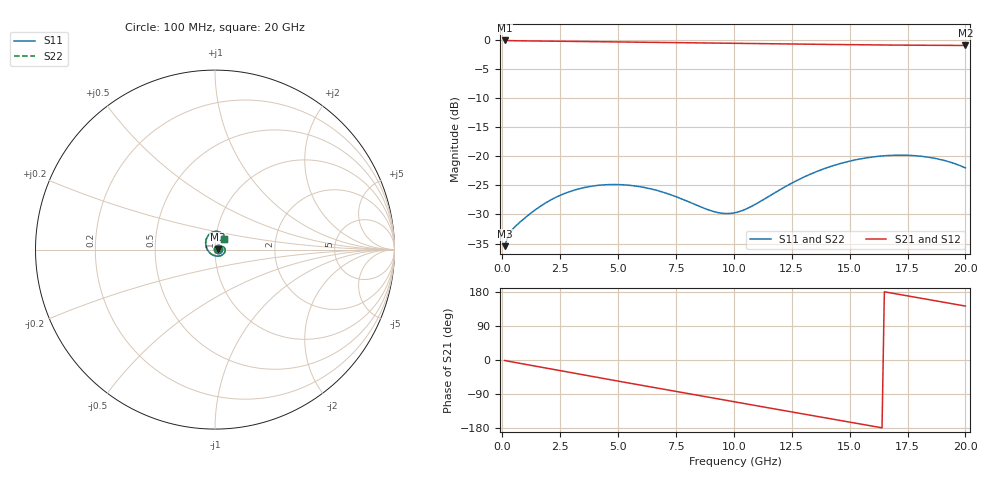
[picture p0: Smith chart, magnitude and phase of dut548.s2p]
! Touchstone file exported from HFSS 2026.1.0
!  File:  C:/ffzhzh/LocalFiles/Ansys_Project_Files/temp_train_TSV_RDL_548_1783114587_50312.aedt
!  Generated:  05:44:39 AM Jul  4, 2026
!  Design:  TSV_RDL
!  Project:  temp_train_TSV_RDL_548_1783114587_50312
! Variables:
!  h_bsmrdl = 4.86um
!  h_ox = 20um
!  h_rdl = 5um
!  h_sub = 54.25um
!  h_tmrdl = 4.65um
!  h_tsv = 54.25um
!  h_via = 3um
!  l_bsmrdl = 767.49um
!  l_sub = 3691.84um
!  l_tmrdl = 220.41um
!  m_sub = 200um
!  pitch = 26.44um
!  r_tsv = 4.16um
!  s_tmrdl = 10um
!  w_bsmrdl = 23.38um
!  w_sub = 500um
!  w_tmrdl = 12.53um
!  x_tsv_center1 = 226.675um
!  x_tsv_center2 = 1017.545um
!  x_tsv_center3 = 1250.485um
!  x_tsv_center4 = 2041.355um
!  x_tsv_center5 = 2274.295um
!  x_tsv_center6 = 3065.165um
# GHz S MA R 50.000000
! Terminal data exported
! Port[1] = TM_RDL1_1_T1
! Port[2] = TM_RDL5_1_T1
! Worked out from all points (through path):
!   200 points, 100 MHz to 20 GHz, reference 50 ohm
!   highest |S21| = -0.14 dB at 100 MHz (marker M1); lowest = -1.0 dB at 20 GHz (marker M2)
!   group delay of S21, straight-line fit = 30.1 ps
!   lowest |S11| = -35.4 dB at 100 MHz (marker M3), VSWR 1.03, Z = 51.7 + j0.383 ohm
!   |S11| at or under -10 dB: start of sweep to end of sweep
!   |S22| runs from -35.4 to -19.8 dB; largest |S21 - S12| = 1.7e-14
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0.1  0.01689 12.7  0.9836 -1.3  0.9836 -1.3  0.01689 12.7
! Gamma 0 0 0 0
! Port Impedance 50 0 50 0
0.2  0.01937 18.2  0.9819 -2.5  0.9819 -2.5  0.01937 18.2
0.4  0.023 21.1  0.9789 -4.8  0.9789 -4.8  0.023 21.1
1.4  0.03433 26.6  0.9735 -15.9  0.9735 -15.9  0.03433 26.6
2.4  0.04518 22.0  0.9686 -27.1  0.9686 -27.1  0.04518 22.0
3.5  0.05355 11.2  0.9623 -39.3  0.9623 -39.3  0.05355 11.2
5.1  0.05697 -9.1  0.9532 -56.8  0.9532 -56.8  0.05697 -9.1
6  0.05446 -22.6  0.9486 -66.6  0.9486 -66.6  0.05448 -22.6
6.8  0.05002 -36.3  0.9448 -75.3  0.9448 -75.3  0.05004 -36.3
7.9  0.04176 -59.8  0.9398 -87.2  0.9398 -87.2  0.0418 -59.9
9.1  0.03361 -96.6  0.9343 -100.3  0.9343 -100.3  0.03366 -96.6
9.6  0.03222 -116.1  0.932 -105.7  0.932 -105.7  0.03228 -116.1
10.1  0.03288 -136.7  0.9296 -111.1  0.9296 -111.1  0.03295 -136.6
10.7  0.03651 -159.8  0.9267 -117.6  0.9267 -117.6  0.03658 -159.7
11.7  0.04761 169.7  0.9217 -128.4  0.9217 -128.4  0.04767 169.8
13.4  0.07137 134.9  0.9129 -146.8  0.9129 -146.8  0.07142 135.0
14.3  0.08299 120.8  0.9084 -156.5  0.9084 -156.5  0.08304 120.8
15.1  0.09156 109.5  0.9046 -165.0  0.9046 -165.0  0.09161 109.5
16.7  0.1014 88.8  0.8983 177.8  0.8983 177.8  0.1014 88.9
17.6  0.1016 77.9  0.8956 168.2  0.8956 168.2  0.1016 78.0
18.5  0.09725 67.2  0.8935 158.6  0.8935 158.6  0.09729 67.3
20  0.07932 49.6  0.8914 142.4  0.8914 142.4  0.07936 49.7
